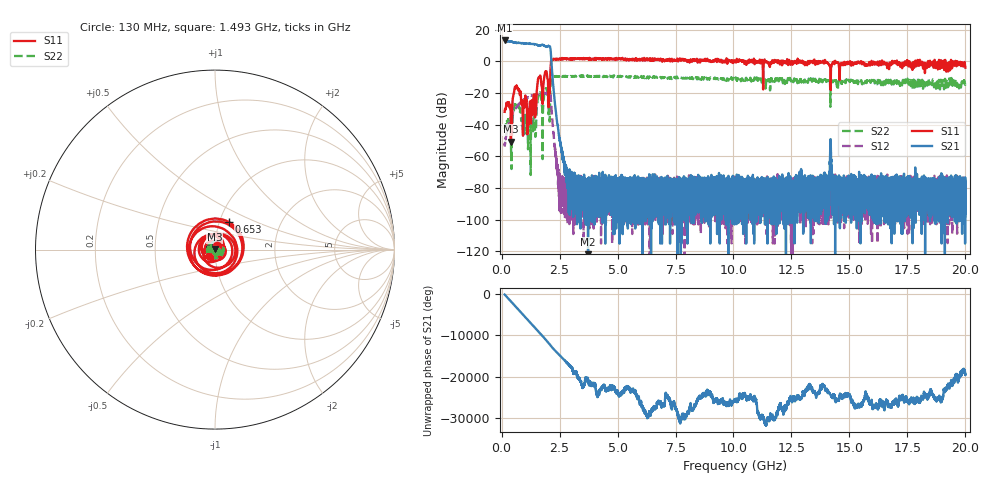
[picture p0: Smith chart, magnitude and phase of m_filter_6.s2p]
!Created with skrf (http://scikit-rf.org).
# GHz S RI R 50.0
!freq ReS11 ImS11 ReS21 ImS21 ReS12 ImS12 ReS22 ImS22
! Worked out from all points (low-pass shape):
!   20013 points, 130 MHz to 20 GHz, reference 50 ohm
!   highest |S21| = 13.27 dB at 130 MHz (marker M1); lowest = -178.5 dB at 3.728 GHz (marker M2)
!   |S21| within 3 dB of the highest: start of sweep to 1.554 GHz; 1.697 GHz to 1.806 GHz (109.5 MHz wide, 6.25 % of centre) (the widest 2 of 4)
!   lowest |S11| = -50.6 dB at 404 MHz (marker M3), VSWR 1.01, Z = 49.8 + j0.161 ohm
!   |S11| at or under -10 dB: start of sweep to 1.636 GHz; 1.684 GHz to 1.839 GHz (155.1 MHz wide, 8.81 % of centre); 1.967 GHz to 2.093 GHz (126 MHz wide, 6.21 % of centre) (the widest 3 of 6)
!   |S22| runs from -71.7 to -8.9 dB; largest |S21 - S12| = 4.6
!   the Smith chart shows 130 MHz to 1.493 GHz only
!   S11 on the Smith chart (normalised r, x): 130 MHz: 1.02, +0.05; 653 MHz: 1.11, +0.35; 1.493 GHz: 0.95, -0.07
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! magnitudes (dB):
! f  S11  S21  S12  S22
! 130 MHz  -31.8  13.3  -53.8  -42.8
! 286 MHz  -25.9  12.8  -40.7  -36.7
! 404 MHz  -50.6  12.6  -35.3  -54.0
! 653 MHz  -15.3  11.7  -28.8  -26.2
! 1.185 GHz  -30.6  11.1  -22.4  -40.4
! 1.493 GHz  -27.1  10.7  -20.6  -36.4
! 1.62 GHz  -10.3  10.1  -20.5  -21.2
! 2.058 GHz  -15.5  9.6  -19.3  -30.0
! 2.21 GHz  1.2  -12.6  -41.2  -9.6
! 2.39 GHz  1.4  -38.3  -64.8  -9.7
! 2.545 GHz  1.6  -52.8  -81.7  -9.5
! 2.902 GHz  1.2  -76.1  -87.1  -9.3
! 3.442 GHz  2.0  -81.5  -75.4  -9.0
! 3.728 GHz  1.7  -178.5  -89.8  -9.7
! 6.754 GHz  1.6  -82.2  -87.5  -9.9
! 10.06 GHz  0.0  -79.9  -89.9  -11.6
! 13.38 GHz  -0.4  -86.0  -79.9  -12.4
! 14.03 GHz  -0.7  -81.3  -78.1  -12.2
! 14.18 GHz  -3.5  -49.8  -68.4  -22.5
! 14.36 GHz  -1.2  -82.6  -78.9  -12.9
! 16.69 GHz  -3.7  -89.6  -83.9  -12.0
! 20 GHz  -4.0  -82.0  -81.0  -14.5
